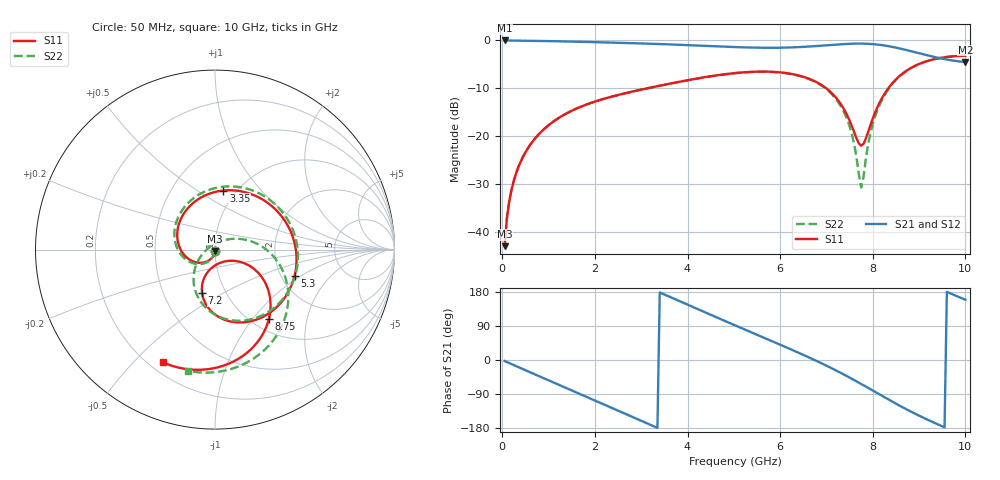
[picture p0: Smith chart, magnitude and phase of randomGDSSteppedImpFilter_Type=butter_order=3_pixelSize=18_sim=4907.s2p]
! freq	dB(S11)	phase(S11)	dB(S12)	phase(S12)
!  dB(S21)	phase(S21)	dB(S22)	phase(S22)
!S-par simulation data
#  GHz  S  DB  R 50
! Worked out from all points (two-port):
!   200 points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, 50 MHz to 10 GHz, reference 50 ohm
!   highest |S21| = 0.00 dB at 50 MHz (marker M1); lowest = -4.5 dB at 10 GHz (marker M2)
!   |S21| within 3 dB of the highest: start of sweep to 9.133 GHz
!   lowest |S11| = -43.1 dB at 50 MHz (marker M3), VSWR 1.01, Z = 50 - j0.702 ohm
!   |S11| at or under -10 dB: start of sweep to 3.139 GHz; 6.992 GHz to 8.337 GHz (1.345 GHz wide, 17.5 % of centre)
!   |S22| runs from -43.1 to -3.2 dB; largest |S21 - S12| = 0
!   S11 on the Smith chart (normalised r, x): 50 MHz: 1.00, -0.01; 3.35 GHz: 0.87, +0.65; 5.3 GHz: 2.37, -0.88; 7.2 GHz: 0.77, -0.40; 8.75 GHz: 1.19, -1.21; 10 GHz: 0.25, -0.61
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0.05  -43.07 -91.2  -0.00 -2.7  -0.00 -2.7  -43.07 -91.0
0.1  -37.17 -94.6  -0.01 -5.5  -0.01 -5.5  -37.16 -94.1
0.2  -31.23 -101.1  -0.02 -10.8  -0.02 -10.8  -31.23 -100.0
0.5  -23.42 -118.8  -0.06 -27.0  -0.06 -27.0  -23.41 -116.1
1.15  -16.66 -155.8  -0.17 -61.7  -0.17 -61.7  -16.66 -149.5
1.75  -13.66 170.5  -0.30 -93.7  -0.30 -93.7  -13.67 -179.9
2.65  -11.06 120.3  -0.53 -141.6  -0.53 -141.6  -11.08 134.3
3.35  -9.57 82.0  -0.74 -179.1  -0.74 -179.1  -9.59 97.8
3.4  -9.47 79.3  -0.76 178.2  -0.76 178.2  -9.49 95.2
4.3  -7.81 31.9  -1.10 130.0  -1.10 130.0  -7.84 46.8
5.05  -6.81 -5.8  -1.40 90.2  -1.40 90.2  -6.83 6.2
5.3  -6.62 -18.1  -1.47 77.1  -1.47 77.1  -6.64 -7.4
5.95  -6.64 -49.4  -1.53 43.0  -1.53 43.0  -6.68 -42.5
6.7  -8.32 -85.0  -1.23 2.4  -1.23 2.4  -8.41 -85.0
7.2  -11.92 -106.5  -0.87 -27.1  -0.87 -27.1  -12.21 -117.5
7.55  -17.96 -107.2  -0.68 -49.7  -0.68 -49.7  -19.66 -149.4
7.75  -22.03 -69.5  -0.66 -63.3  -0.66 -63.3  -30.79 126.2
8  -16.33 -26.2  -0.77 -80.7  -0.77 -80.7  -17.48 27.0
8.35  -9.83 -32.2  -1.21 -105.1  -1.21 -105.1  -10.03 -4.6
8.75  -6.19 -52.2  -2.06 -131.6  -2.06 -131.6  -6.25 -32.9
9.4  -3.77 -85.7  -3.61 -169.6  -3.61 -169.6  -3.78 -71.6
10  -3.20 -114.7  -4.53 159.0  -4.53 159.0  -3.19 -102.7
